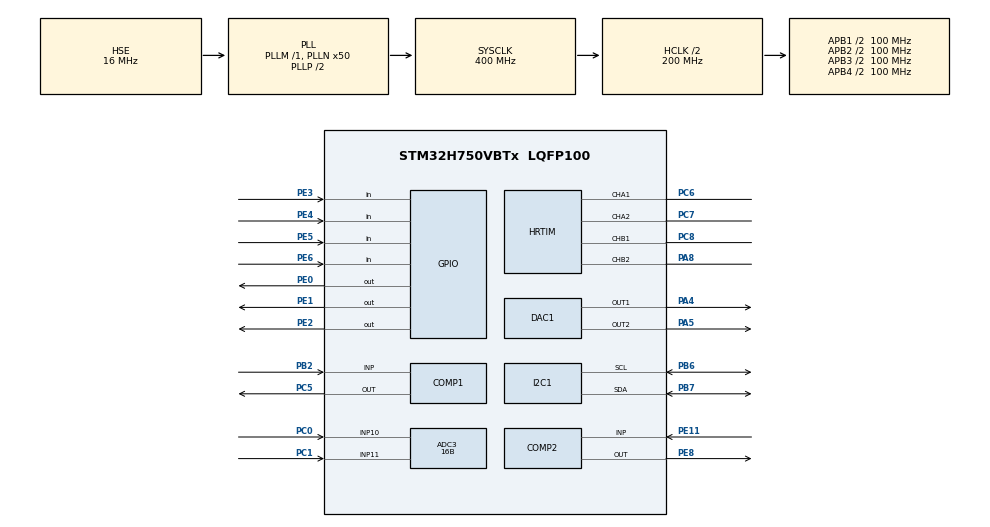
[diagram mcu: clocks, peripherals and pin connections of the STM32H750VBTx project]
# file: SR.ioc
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ADC3.Channel-0\#ChannelRegularConversion=ADC_CHANNEL_11
ADC3.Channel-1\#ChannelRegularConversion=ADC_CHANNEL_10
ADC3.ClockPrescaler=ADC_CLOCK_ASYNC_DIV1
ADC3.ClockPrescalerADC3=ADC_CLOCK_ASYNC_DIV1
ADC3.ContinuousConvMode=DISABLE
ADC3.ConversionDataManagement=ADC_CONVERSIONDATA_DMA_CIRCULAR
ADC3.DiscontinuousConvMode=DISABLE
ADC3.EOCSelection=ADC_EOC_SEQ_CONV
ADC3.ExternalTrigConv=ADC_EXTERNALTRIG_T2_TRGO
ADC3.NbrOfConversion=2
ADC3.NbrOfConversionFlag=1
ADC3.OffsetNumber-0\#ChannelRegularConversion=ADC_OFFSET_NONE
ADC3.OffsetNumber-1\#ChannelRegularConversion=ADC_OFFSET_NONE
ADC3.OffsetSignedSaturation-0\#ChannelRegularConversion=DISABLE
ADC3.OffsetSignedSaturation-1\#ChannelRegularConversion=DISABLE
ADC3.Overrun=ADC_OVR_DATA_OVERWRITTEN
ADC3.Rank-0\#ChannelRegularConversion=1
ADC3.Rank-1\#ChannelRegularConversion=2
ADC3.Resolution=ADC_RESOLUTION_16B
ADC3.SamplingTime-0\#ChannelRegularConversion=ADC_SAMPLETIME_810CYCLES_5
ADC3.SamplingTime-1\#ChannelRegularConversion=ADC_SAMPLETIME_810CYCLES_5
COMP1.Hysteresis=COMP_HYSTERESIS_LOW
COMP1.Mode=COMP_POWERMODE_HIGHSPEED
COMP1.TriggerMode=COMP_TRIGGERMODE_NONE
COMP2.Hysteresis=COMP_HYSTERESIS_LOW
CORTEX_M7.CPU_DCache=Disabled
CORTEX_M7.CPU_ICache=Disabled
DAC1.DAC_Channel-DAC_OUT1_ExtAndInt=DAC_CHANNEL_1
DAC1.DAC_Channel-DAC_OUT2_ExtAndInt=DAC_CHANNEL_2
Dma.ADC3.0.Direction=DMA_PERIPH_TO_MEMORY
Dma.ADC3.0.EventEnable=DISABLE
Dma.ADC3.0.FIFOMode=DMA_FIFOMODE_DISABLE
Dma.ADC3.0.Instance=DMA1_Stream0
Dma.ADC3.0.MemDataAlignment=DMA_MDATAALIGN_HALFWORD
Dma.ADC3.0.MemInc=DMA_MINC_ENABLE
Dma.ADC3.0.Mode=DMA_CIRCULAR
Dma.ADC3.0.PeriphDataAlignment=DMA_PDATAALIGN_HALFWORD
Dma.ADC3.0.PeriphInc=DMA_PINC_DISABLE
Dma.ADC3.0.Polarity=HAL_DMAMUX_REQ_GEN_RISING
Dma.ADC3.0.Priority=DMA_PRIORITY_LOW
Dma.ADC3.0.RequestNumber=1
Dma.ADC3.0.SignalID=NONE
Dma.ADC3.0.SyncEnable=DISABLE
Dma.ADC3.0.SyncPolarity=HAL_DMAMUX_SYNC_NO_EVENT
Dma.ADC3.0.SyncRequestNumber=1
Dma.ADC3.0.SyncSignalID=NONE
Dma.Request0=ADC3
HRTIM.CaptureUnit1-Output_TA1TA2=HRTIM_CAPTUREUNIT_1
HRTIM.CaptureUnit1-Output_TB1TB2=HRTIM_CAPTUREUNIT_1
HRTIM.CaptureUnit2-Output_TA1TA2=__NULL
HRTIM.CompareUnit1-MasterTimer=HRTIM_COMPAREUNIT_1
HRTIM.CompareUnit1-Output_TA1TA2=HRTIM_COMPAREUNIT_1
HRTIM.CompareUnit1-Output_TB1TB2=HRTIM_COMPAREUNIT_1
HRTIM.CompareUnit2-MasterTimer=HRTIM_COMPAREUNIT_2
HRTIM.CompareUnit2-Output_TA1TA2=HRTIM_COMPAREUNIT_2
HRTIM.CompareUnit2-Output_TB1TB2=HRTIM_COMPAREUNIT_2
HRTIM.CompareUnit3-Output_TA1TA2=HRTIM_COMPAREUNIT_3
HRTIM.CompareUnit3-Output_TB1TB2=HRTIM_COMPAREUNIT_3
HRTIM.CompareValue1-MasterTimer=100
HRTIM.CompareValue1-Output_TA1TA2=100
HRTIM.CompareValue1-Output_TB1TB2=150
HRTIM.CompareValue2-MasterTimer=100
HRTIM.CompareValue2-Output_TA1TA2=300
HRTIM.CompareValue2-Output_TB1TB2=350
HRTIM.CompareValue3-Output_TA1TA2=30
HRTIM.CompareValue3-Output_TB1TB2=30
HRTIM.DeadTimeInsertion-Output_TA1TA2=HRTIM_TIMDEADTIMEINSERTION_ENABLED
HRTIM.DeadTimeInsertion-Output_TB1TB2=HRTIM_TIMDEADTIMEINSERTION_ENABLED
HRTIM.Event1-Output_TA1TA2=__NULL
HRTIM.Event1-Output_TB1TB2=HRTIM_EVENT_1
HRTIM.Event2-Output_TA1TA2=HRTIM_EVENT_2
HRTIM.Event7-Output_TA1TA2=__NULL
HRTIM.Event_EEV1=HRTIM_EVENT_1
HRTIM.Event_EEV2=HRTIM_EVENT_2
HRTIM.Event_EEV3=__NULL
HRTIM.Event_EEV6=__NULL
HRTIM.Event_EEV7=__NULL
HRTIM.FallingValue-Output_TA1TA2=4
HRTIM.FallingValue-Output_TB1TB2=4
HRTIM.Filter1-Output_TB1TB2=HRTIM_TIMEVENTFILTER_WINDOWINGCMP3
HRTIM.Filter2-Output_TA1TA2=HRTIM_TIMEVENTFILTER_WINDOWINGCMP3
HRTIM.InterruptRequests1-Output_TA1TA2=HRTIM_TIM_IT_CPT1
HRTIM.InterruptRequests1-Output_TB1TB2=HRTIM_TIM_IT_CPT1
HRTIM.InterruptRequests1_Master=HRTIM_MASTER_IT_MREP
HRTIM.NumberDMARequests_TA=0
HRTIM.NumberInterruptRequests-Output_TA1TA2=1
HRTIM.NumberInterruptRequests-Output_TB1TB2=1
HRTIM.NumberInterruptRequests_Master-MasterTimer=1
HRTIM.NumberResetSource1-Output_TA1TA2=1
HRTIM.NumberResetSource1-Output_TB1TB2=1
HRTIM.NumberResetTrigger-Output_TA1TA2=1
HRTIM.NumberResetTrigger-Output_TB1TB2=1
HRTIM.NumberSetSource1-Output_TA1TA2=1
HRTIM.NumberSetSource1-Output_TB1TB2=1
HRTIM.NumberTriggerSource_Captureconfig1-Output_TA1TA2=1
HRTIM.NumberTriggerSource_Captureconfig1-Output_TB1TB2=1
HRTIM.NumberUpdateTrigger-Output_TA1TA2=0
HRTIM.Periode_MASTER=400
HRTIM.Periode_TA=400
HRTIM.Periode_TB=400
HRTIM.PreloadEnable-MasterTimer=HRTIM_PRELOAD_DISABLED
HRTIM.PreloadEnable-Output_TA1TA2=HRTIM_PRELOAD_ENABLED
HRTIM.PreloadEnable-Output_TB1TB2=HRTIM_PRELOAD_ENABLED
HRTIM.PrescalerDead-Output_TA1TA2=HRTIM_TIMDEADTIME_PRESCALERRATIO_DIV1
HRTIM.PrescalerDead-Output_TB1TB2=HRTIM_TIMDEADTIME_PRESCALERRATIO_DIV1
HRTIM.RepetitionUpdate-MasterTimer=HRTIM_UPDATEONREPETITION_ENABLED
HRTIM.RepetitionUpdate-Output_TA1TA2=HRTIM_UPDATEONREPETITION_ENABLED
HRTIM.RepetitionUpdate-Output_TB1TB2=HRTIM_UPDATEONREPETITION_ENABLED
HRTIM.ResetOutput1_Source1-Output_TA1TA2=HRTIM_OUTPUTRESET_TIMCMP2
HRTIM.ResetOutput1_Source1-Output_TB1TB2=HRTIM_OUTPUTRESET_TIMCMP2
HRTIM.ResetTrigger1-Output_TA1TA2=HRTIM_TIMRESETTRIGGER_MASTER_CMP1
HRTIM.ResetTrigger1-Output_TB1TB2=HRTIM_TIMRESETTRIGGER_MASTER_CMP2
HRTIM.RisingValue-Output_TA1TA2=4
HRTIM.RisingValue-Output_TB1TB2=4
HRTIM.Sensitivity_EEV1=HRTIM_EVENTSENSITIVITY_FALLINGEDGE
HRTIM.Sensitivity_EEV2=HRTIM_EVENTSENSITIVITY_FALLINGEDGE
HRTIM.SetOutput1_Source1-Output_TA1TA2=HRTIM_OUTPUTSET_TIMCMP1
HRTIM.SetOutput1_Source1-Output_TB1TB2=HRTIM_OUTPUTSET_TIMCMP1
HRTIM.TriggerCapture1_Source1-Output_TA1TA2=HRTIM_CAPTURETRIGGER_EEV_2
HRTIM.TriggerCapture1_Source1-Output_TB1TB2=HRTIM_CAPTURETRIGGER_EEV_1
I2C1.Timing=0x10C0ECFF
Mcu.Family=STM32H7
Mcu.Name=STM32H750VBTx
Mcu.Package=LQFP100
NVIC.DMA1_Stream0_IRQn=true\:2\:0\:true\:false\:true\:false\:true\:true
NVIC.HRTIM1_Master_IRQn=true\:1\:0\:true\:false\:true\:true\:true\:true
NVIC.HRTIM1_TIMA_IRQn=true\:0\:0\:false\:false\:true\:true\:true\:true
NVIC.HRTIM1_TIMB_IRQn=true\:0\:0\:false\:false\:true\:true\:true\:true
NVIC.PriorityGroup=NVIC_PRIORITYGROUP_4
NVIC.TIM2_IRQn=true\:14\:0\:true\:false\:true\:true\:true\:true
PA13\ (JTMS/SWDIO).Mode=Serial_Wire
PA13\ (JTMS/SWDIO).Signal=DEBUG_JTMS-SWDIO
PA14\ (JTCK/SWCLK).Mode=Serial_Wire
PA14\ (JTCK/SWCLK).Signal=DEBUG_JTCK-SWCLK
PA4.Signal=COMP_DAC11_group
PA5.Signal=COMP_DAC12_group
PA8.Mode=Output_TB1TB2
PA8.Signal=HRTIM_CHB2
PB2.Mode=INP
PB2.Signal=COMP1_INP
PB6.Mode=I2C
PB6.Signal=I2C1_SCL
PB7.Mode=I2C
PB7.Signal=I2C1_SDA
PC0.Signal=ADCx_INP10
PC1.Signal=ADCx_INP11
PC5.Mode=ExternalOutput
PC5.Signal=COMP1_OUT
PC6.Mode=Output_TA1TA2
PC6.Signal=HRTIM_CHA1
PC7.Mode=Output_TA1TA2
PC7.Signal=HRTIM_CHA2
PC8.Mode=Output_TB1TB2
PC8.Signal=HRTIM_CHB1
PE0.PinState=GPIO_PIN_SET
PE0.Signal=GPIO_Output
PE1.PinState=GPIO_PIN_SET
PE1.Signal=GPIO_Output
PE11.Mode=INP
PE11.Signal=COMP2_INP
PE2.GPIO_ModeDefaultOutputPP=GPIO_MODE_OUTPUT_PP
PE2.PinState=GPIO_PIN_SET
PE2.Signal=GPIO_Output
PE3.GPIO_PuPd=GPIO_PULLUP
PE3.Signal=GPIO_Input
PE4.GPIO_PuPd=GPIO_PULLUP
PE4.Signal=GPIO_Input
PE5.GPIO_PuPd=GPIO_PULLUP
PE5.Signal=GPIO_Input
PE6.GPIO_PuPd=GPIO_PULLUP
PE6.Signal=GPIO_Input
PE8.Mode=ExternalOutput
PE8.Signal=COMP2_OUT
PH0-OSC_IN\ (PH0).Mode=HSE-External-Oscillator
PH0-OSC_IN\ (PH0).Signal=RCC_OSC_IN
PH1-OSC_OUT\ (PH1).Mode=HSE-External-Oscillator
PH1-OSC_OUT\ (PH1).Signal=RCC_OSC_OUT
ProjectManager.HeapSize=0x200
ProjectManager.StackSize=0x400
ProjectManager.TargetToolchain=MDK-ARM V5.27
RCC.ADCFreq_Value=30000000
RCC.APB1Freq_Value=100000000
RCC.APB2Freq_Value=100000000
RCC.APB3Freq_Value=100000000
RCC.APB4Freq_Value=100000000
RCC.CortexFreq_Value=400000000
RCC.D1PPRE=RCC_APB3_DIV2
RCC.D2PPRE1=RCC_APB1_DIV2
RCC.D2PPRE2=RCC_APB2_DIV2
RCC.D3PPRE=RCC_APB4_DIV2
RCC.DIVM1=1
RCC.DIVM2=1
RCC.DIVM3=1
RCC.DIVN1=50
RCC.DIVN2=9
RCC.DIVN3=9
RCC.DIVP2=5
RCC.HCLKFreq_Value=200000000
RCC.HPRE=RCC_HCLK_DIV2
RCC.HRTIMCLockSelection=RCC_HRTIM1CLK_CPUCLK
RCC.HSE_VALUE=16000000
RCC.PLL2FRACN=3072
RCC.PLL3FRACN=3072
RCC.PLLFRACN=0
RCC.PLLSourceVirtual=RCC_PLLSOURCE_HSE
RCC.SYSCLKFreq_VALUE=400000000
RCC.SYSCLKSource=RCC_SYSCLKSOURCE_PLLCLK
RCC.USBFreq_Value=400000000
SH.ADCx_INP10.0=ADC3_INP10,IN10-Single-Ended
SH.ADCx_INP11.0=ADC3_INP11,IN11-Single-Ended
SH.COMP_DAC11_group.0=DAC1_OUT1,DAC_OUT1_ExtAndInt
SH.COMP_DAC12_group.0=DAC1_OUT2,DAC_OUT2_ExtAndInt
TIM2.AutoReloadPreload=TIM_AUTORELOAD_PRELOAD_ENABLE
TIM2.Period=1000-1
TIM2.Prescaler=400-1
TIM2.TIM_MasterOutputTrigger=TIM_TRGO_UPDATE
TIM2.TIM_MasterSlaveMode=TIM_MASTERSLAVEMODE_DISABLE
VP_COMP1_VS_DACOUT1.Mode=INM_DACOUT1
VP_COMP2_VS_DACOUT2.Mode=INM_DACOUT2
VP_HRTIM_VS_hrtimMasterTimerNoOutput.Mode=MasterTimer
VP_TIM2_VS_ClockSourceINT.Mode=Internal
board=custom

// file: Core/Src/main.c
/* USER CODE BEGIN Header */
/**
  ******************************************************************************
  * @file           : main.c
  * @brief          : Main program body
  ******************************************************************************
  * @attention
  *
  * Copyright (c) 2024 STMicroelectronics.
  * All rights reserved.
  *
  * This software is licensed under terms that can be found in the LICENSE file
  * in the root directory of this software component.
  * If no LICENSE file comes with this software, it is provided AS-IS.
  *
  ******************************************************************************
  */
/* USER CODE END Header */
#include "main.h"
#include "adc.h"
#include "comp.h"
#include "dac.h"
#include "dma.h"
#include "hrtim.h"
#include "i2c.h"
#include "tim.h"
#include "gpio.h"

/* USER CODE BEGIN Includes */
#include "function.h"
#include "key.h"
/* USER CODE END Includes */

void SystemClock_Config(void);

int main(void)
{

  /* MCU Configuration--------------------------------------------------------*/

  /* Reset of all peripherals, Initializes the Flash interface and the Systick. */
  HAL_Init();

  /* Configure the system clock */
  SystemClock_Config();

  /* Initialize all configured peripherals */
  MX_GPIO_Init();
  MX_DMA_Init();
  MX_TIM2_Init();
  MX_DAC1_Init();
  MX_COMP1_Init();
  MX_HRTIM_Init();
  MX_ADC3_Init();
  MX_I2C1_Init();
  MX_COMP2_Init();
  /* USER CODE BEGIN 2 */

	KEY_Init(); //按键初始化

	Signal_Init();
	Output_Update();

	HAL_COMP_Start(&hcomp1);
	HAL_COMP_Start(&hcomp2);

	HAL_DAC_Start(&hdac1,DAC_CHANNEL_1);
	HAL_DAC_Start(&hdac1,DAC_CHANNEL_2);
	HAL_DAC_SetValue(&hdac1,DAC_CHANNEL_1,DAC_ALIGN_12B_R,200);	//设置通道输出的值
	HAL_DAC_SetValue(&hdac1,DAC_CHANNEL_2,DAC_ALIGN_12B_R,200);	//设置通道输出的值
	HAL_Delay(10);

	HAL_ADCEx_Calibration_Start(&hadc3,ADC_CALIB_OFFSET_LINEARITY,ADC_SINGLE_ENDED);
	HAL_ADC_Start_DMA(&hadc3, (uint32_t *)adc3_data, ADC3_BUFFER_SIZE);

	HAL_HRTIM_WaveformCounterStart(&hhrtim, HRTIM_TIMERID_MASTER|HRTIM_TIMERID_TIMER_A|HRTIM_TIMERID_TIMER_B);

	HAL_TIM_Base_Start_IT(&htim2); //1000Hz
	HAL_HRTIM_WaveformCounterStart_IT(&hhrtim, HRTIM_TIMERID_MASTER|HRTIM_TIMERID_TIMER_A|HRTIM_TIMERID_TIMER_B);
  /* USER CODE END 2 */

  /* Infinite loop */
  while (1)
  {

  }
}

void SystemClock_Config(void)
{
  RCC_OscInitTypeDef RCC_OscInitStruct = {0};
  RCC_ClkInitTypeDef RCC_ClkInitStruct = {0};

  /** Supply configuration update enable
  */
  HAL_PWREx_ConfigSupply(PWR_LDO_SUPPLY);

  /** Configure the main internal regulator output voltage
  */
  __HAL_PWR_VOLTAGESCALING_CONFIG(PWR_REGULATOR_VOLTAGE_SCALE1);

  while(!__HAL_PWR_GET_FLAG(PWR_FLAG_VOSRDY)) {}

  /** Initializes the RCC Oscillators according to the specified parameters
  * in the RCC_OscInitTypeDef structure.
  */
  RCC_OscInitStruct.OscillatorType = RCC_OSCILLATORTYPE_HSE;
  RCC_OscInitStruct.HSEState = RCC_HSE_ON;
  RCC_OscInitStruct.PLL.PLLState = RCC_PLL_ON;
  RCC_OscInitStruct.PLL.PLLSource = RCC_PLLSOURCE_HSE;
  RCC_OscInitStruct.PLL.PLLM = 1;
  RCC_OscInitStruct.PLL.PLLN = 50;
  RCC_OscInitStruct.PLL.PLLP = 2;
  RCC_OscInitStruct.PLL.PLLQ = 2;
  RCC_OscInitStruct.PLL.PLLR = 2;
  RCC_OscInitStruct.PLL.PLLRGE = RCC_PLL1VCIRANGE_3;
  RCC_OscInitStruct.PLL.PLLVCOSEL = RCC_PLL1VCOWIDE;
  RCC_OscInitStruct.PLL.PLLFRACN = 0;
  if (HAL_RCC_OscConfig(&RCC_OscInitStruct) != HAL_OK)
  {
    Error_Handler();
  }

  /** Initializes the CPU, AHB and APB buses clocks
  */
  RCC_ClkInitStruct.ClockType = RCC_CLOCKTYPE_HCLK|RCC_CLOCKTYPE_SYSCLK
                              |RCC_CLOCKTYPE_PCLK1|RCC_CLOCKTYPE_PCLK2
                              |RCC_CLOCKTYPE_D3PCLK1|RCC_CLOCKTYPE_D1PCLK1;
  RCC_ClkInitStruct.SYSCLKSource = RCC_SYSCLKSOURCE_PLLCLK;
  RCC_ClkInitStruct.SYSCLKDivider = RCC_SYSCLK_DIV1;
  RCC_ClkInitStruct.AHBCLKDivider = RCC_HCLK_DIV2;
  RCC_ClkInitStruct.APB3CLKDivider = RCC_APB3_DIV2;
  RCC_ClkInitStruct.APB1CLKDivider = RCC_APB1_DIV2;
  RCC_ClkInitStruct.APB2CLKDivider = RCC_APB2_DIV2;
  RCC_ClkInitStruct.APB4CLKDivider = RCC_APB4_DIV2;

  if (HAL_RCC_ClockConfig(&RCC_ClkInitStruct, FLASH_LATENCY_2) != HAL_OK)
  {
    Error_Handler();
  }
}

void Error_Handler(void)
{
  __disable_irq();
  while (1)
  {
  }
}
